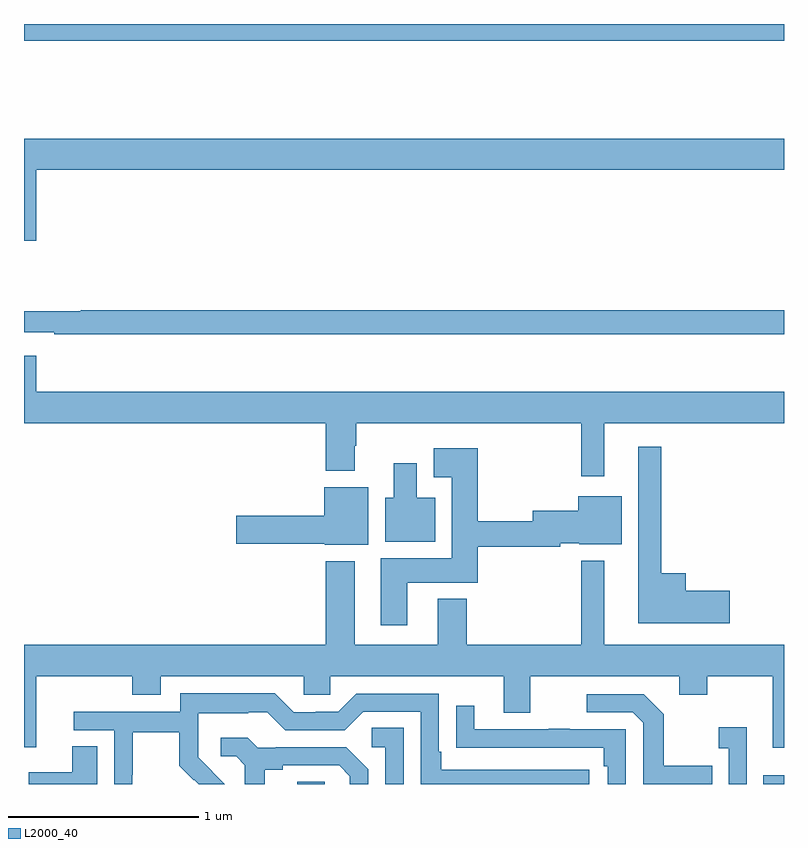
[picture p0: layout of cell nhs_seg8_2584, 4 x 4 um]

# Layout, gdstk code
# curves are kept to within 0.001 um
import gdstk
lib = gdstk.Library(unit=1e-6, precision=1e-09)
def R(c, l, rs):  # rectangles x0, y0, x1, y1
    for r in rs: c.add(gdstk.rectangle(r[:2], r[2:], *l))
def P(c, l, *ps):  # polygons
    for p in ps: c.add(gdstk.Polygon(p, *l))
L2000_40 = (2000, 40)

nhs_seg8_2584 = lib.new_cell('nhs_seg8_2584')
R(nhs_seg8_2584, L2000_40, [(274.439,1147.9,274.584,1147.913), (276.891,1147.9,277,1147.945), (273,1151.812,277,1151.9)])
P(nhs_seg8_2584, L2000_40, [(273.064,1151.132),(277,1151.132),(277,1151.296),(273,1151.296),(273,1150.758),(273.064,1150.758)],
  [(277,1150.394),(273.299,1150.394),(273.299,1150.387),(273,1150.387),(273,1150.278),(273.16,1150.278),(273.16,1150.266),(277,1150.266)],
  [(276.055,1149.8),(277,1149.8),(277,1149.964),(273.064,1149.964),(273.064,1150.153),(273,1150.153),(273,1149.8),(274.589,1149.8),(274.589,1149.548),(274.741,1149.548),(274.741,1149.68),(274.749,1149.68),(274.749,1149.8),(275.934,1149.8),(275.934,1149.519),(276.055,1149.519)],
  [(276.715,1148.918),(276.484,1148.918),(276.484,1149.01),(276.355,1149.01),(276.355,1149.676),(276.233,1149.676),(276.233,1148.747),(276.715,1148.747)],
  [(275.017,1148.96),(275.387,1148.96),(275.387,1149.148),(275.822,1149.148),(275.822,1149.167),(275.922,1149.167),(275.922,1149.161),(276.145,1149.161),(276.145,1149.415),(275.918,1149.415),(275.918,1149.337),(275.678,1149.337),(275.678,1149.284),(275.387,1149.284),(275.387,1149.667),(275.157,1149.667),(275.157,1149.515),(275.252,1149.515),(275.252,1149.088),(274.877,1149.088),(274.877,1148.736),(275.017,1148.736)],
  [(275.164,1149.406),(275.068,1149.406),(275.068,1149.589),(274.946,1149.589),(274.946,1149.406),(274.901,1149.406),(274.901,1149.176),(275.164,1149.176)],
  [(274.813,1149.463),(274.58,1149.463),(274.58,1149.311),(274.116,1149.311),(274.116,1149.164),(274.584,1149.164),(274.584,1149.158),(274.813,1149.158)],
  [(276.055,1149.076),(275.934,1149.076),(275.934,1148.632),(275.33,1148.632),(275.33,1148.875),(275.177,1148.875),(275.177,1148.632),(274.741,1148.632),(274.741,1149.073),(274.589,1149.073),(274.589,1148.632),(273,1148.632),(273,1148.094),(273.064,1148.094),(273.064,1148.468),(273.569,1148.468),(273.569,1148.369),(273.721,1148.369),(273.721,1148.468),(274.473,1148.468),(274.473,1148.37),(274.611,1148.37),(274.611,1148.468),(275.525,1148.468),(275.525,1148.274),(275.665,1148.274),(275.665,1148.468),(276.449,1148.468),(276.449,1148.369),(276.597,1148.369),(276.597,1148.468),(276.941,1148.468),(276.941,1148.091),(277,1148.091),(277,1148.632),(276.055,1148.632)],
  [(273.57,1147.948),(273.573,1147.948),(273.573,1148.172),(273.817,1148.172),(273.817,1147.997),(273.894,1147.92),(273.897,1147.923),(273.92,1147.9),(274.056,1147.9),(273.916,1148.042),(273.916,1148.139),(273.918,1148.139),(273.918,1148.273),(274.181,1148.273),(274.181,1148.277),(274.281,1148.277),(274.374,1148.184),(274.689,1148.184),(274.785,1148.28),(275.088,1148.28),(275.088,1147.9),(275.974,1147.9),(275.974,1147.974),(275.197,1147.974),(275.197,1148.071),(275.184,1148.071),(275.184,1148.376),(274.749,1148.376),(274.653,1148.28),(274.535,1148.28),(274.535,1148.277),(274.419,1148.277),(274.319,1148.377),(273.822,1148.377),(273.822,1148.28),(273.261,1148.28),(273.261,1148.184),(273.474,1148.184),(273.474,1147.9),(273.57,1147.9)],
  [(276.623,1147.995),(276.367,1147.995),(276.367,1148.267),(276.261,1148.373),(275.961,1148.373),(275.961,1148.277),(276.204,1148.277),(276.258,1148.223),(276.258,1147.9),(276.623,1147.9)],
  [(276.168,1148.187),(275.873,1148.187),(275.873,1148.192),(275.761,1148.192),(275.761,1148.187),(275.371,1148.187),(275.371,1148.311),(275.275,1148.311),(275.275,1148.092),(275.377,1148.092),(275.377,1148.091),(276.052,1148.091),(276.052,1147.994),(276.072,1147.994),(276.072,1147.9),(276.168,1147.9)],
  [(276.804,1148.2),(276.657,1148.2),(276.657,1148.087),(276.708,1148.087),(276.708,1147.9),(276.804,1147.9)],
  [(274.998,1148.195),(274.83,1148.195),(274.83,1148.094),(274.902,1148.094),(274.902,1147.9),(274.998,1147.9)],
  [(274.267,1147.976),(274.363,1147.976),(274.363,1147.998),(274.658,1147.998),(274.715,1147.941),(274.715,1147.9),(274.812,1147.9),(274.812,1147.978),(274.696,1148.094),(274.324,1148.094),(274.324,1148.091),(274.23,1148.091),(274.178,1148.143),(274.035,1148.143),(274.035,1148.046),(274.116,1148.046),(274.163,1147.999),(274.163,1147.9),(274.267,1147.9)],
  [(273.385,1148.099),(273.254,1148.099),(273.254,1147.963),(273.024,1147.963),(273.024,1147.9),(273.385,1147.9)])

lib.write_gds('nhs_seg8_2584.gds')
